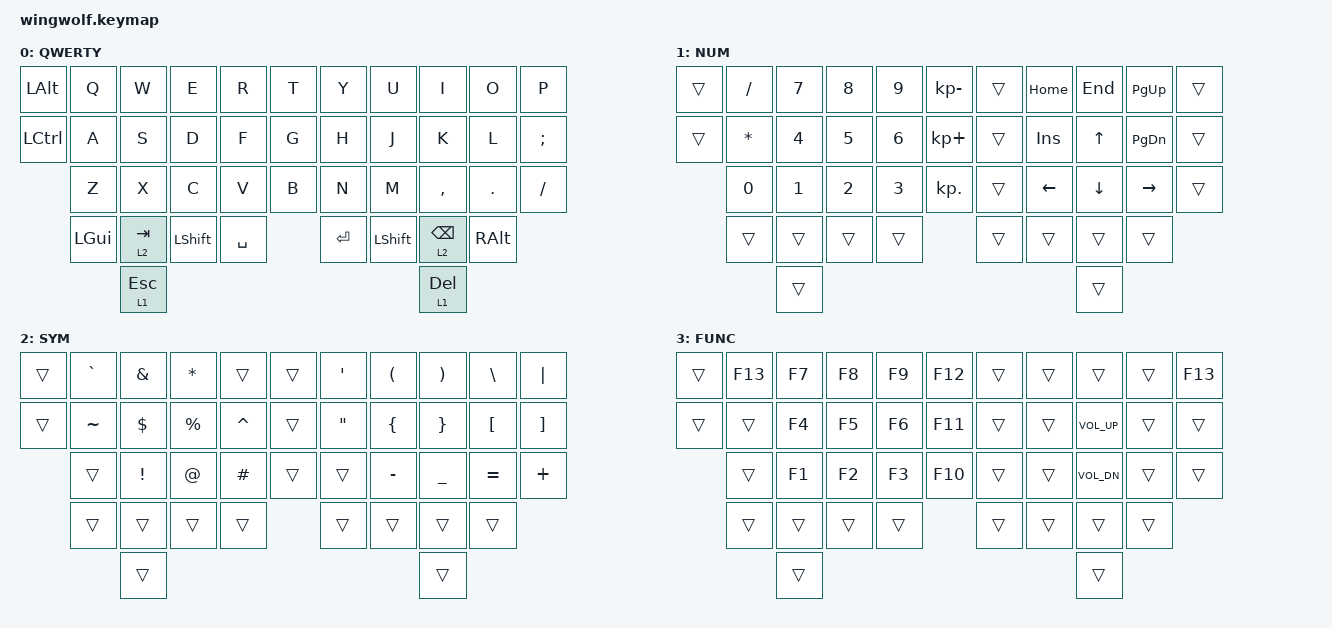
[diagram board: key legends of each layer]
#include <behaviors.dtsi>
#include <dt-bindings/zmk/keys.h>
#include <dt-bindings/zmk/bt.h>
#include <dt-bindings/zmk/outputs.h>




/ {
    conditional_layers {
        compatible = "zmk,conditional-layers";
        tri_layer {
            if-layers = <1 2>;
            then-layer = <3>;
        };
    };
};




/ {
    keymap {
        compatible = "zmk,keymap";

        default_layer {  // QWERTY 0
			      display-name = "QWERTY";
            bindings = <
&kp LALT       &kp Q  &kp W  &kp E     &kp R    &kp T            &kp Y    &kp U    &kp I      &kp O    &kp P 
&kp LCTRL      &kp A  &kp S  &kp D     &kp F    &kp G            &kp H    &kp J    &kp K      &kp L    &kp SEMI  
               &kp Z  &kp X  &kp C     &kp V    &kp B            &kp N    &kp M    &kp COMMA  &kp DOT  &kp FSLH  
               &kp LGUI  &lt 2 TAB &kp LSHFT &kp SPACE         &kp RET  &kp LSHFT &lt 2 BSPC  &kp RALT
                        &lt 1 ESC                                                 &lt 1 DEL
            >;
        };

        num_layer {  // NUM 1
			      display-name = "NUM";
            bindings = <

&trans        &kp FSLH  &kp N7    &kp N8    &kp N9    &kp KP_MINUS      &trans    &kp HOME    &kp END    &kp PG_UP    &trans
&trans        &kp STAR  &kp N4    &kp N5    &kp N6    &kp KP_PLUS       &trans    &kp INS     &kp UP     &kp PG_DN    &trans
              &kp N0    &kp N1    &kp N2    &kp N3    &kp KP_DOT        &trans    &kp LEFT    &kp DOWN   &kp RIGHT    &trans
                           &trans &trans &trans &trans                         &trans &trans &trans &trans
                                  &trans                                                     &trans
            >;
        };

        sym_layer {  // SYM 2
		      	display-name = "SYM";
            bindings = <
&trans        &kp GRAVE   &kp AMPERSAND &kp ASTERISK  &trans       &trans        &kp SINGLE_QUOTE   &kp LPAR    &kp RPAR    &kp BACKSLASH   &kp PIPE
&trans        &kp TILDE   &kp DOLLAR    &kp PERCENT   &kp CARET    &trans        &kp DOUBLE_QUOTES  &kp LBRC    &kp RBRC    &kp LBKT        &kp RBKT
              &trans      &kp EXCL      &kp AT        &kp HASH     &trans        &trans             &kp MINUS   &kp UNDER   &kp EQUAL       &kp PLUS
                           &trans &trans &trans &trans                           &trans &trans &trans &trans
                                  &trans                                                       &trans
            >;
        };

        func_layer {  // FUNC 3
	      		display-name = "FUNC";
            bindings = <
&trans        &kp F13     &kp F7    &kp F8    &kp F9    &kp F12        &trans    &trans    &trans        &trans    &kp F13
&trans        &trans      &kp F4    &kp F5    &kp F6    &kp F11        &trans    &trans    &kp C_VOL_UP  &trans    &trans
              &trans      &kp F1    &kp F2    &kp F3    &kp F10        &trans    &trans    &kp C_VOL_DN  &trans    &trans
                           &trans &trans &trans &trans                           &trans &trans &trans &trans
                                  &trans                                                       &trans
            >;
        };

    };
};
